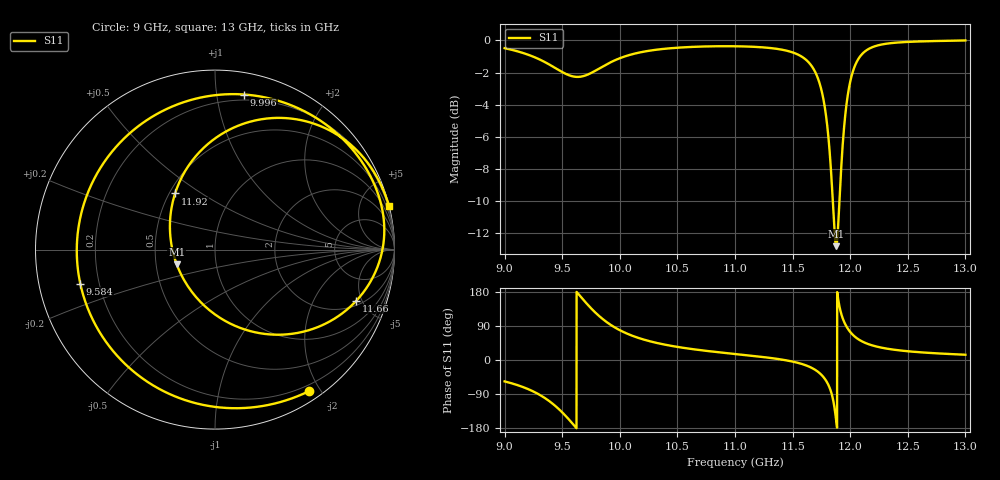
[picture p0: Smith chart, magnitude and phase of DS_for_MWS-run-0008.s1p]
! TOUCHSTONE file generated by CST DESIGN STUDIO
! Date and time: Tue Feb  4 15:38:53 2025
! Project name: C:\Work\MatlabApps\UnitCellOptimizationMatlab\CST\unitcell.cst
! Tree item: Tasks\Sweep1\SPara1\S-Parameters
! Header version: 2024
! Port assignment regex: !\s*Touchstone port\s*([0-9]+)\s*=\s*(CST MWS port|CST DES external port|CST DES block port)\s*(.+)\s* \(\"(.*)\"\)(\s*mode\s*([0-9]+))?.*
! Touchstone port assignment:
! Touchstone port 1 = CST DES external port 1 ("")
# GHz S MA R 50
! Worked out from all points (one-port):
!   4001 points, 9 GHz to 13 GHz, reference 50 ohm
!   lowest |S11| = -12.8 dB at 11.88 GHz (marker M1), VSWR 1.59, Z = 32.1 - j5.56 ohm
!   |S11| at or under -10 dB: 11.84893 GHz to 11.90668 GHz (57.75 MHz wide, 0.486 % of centre)
!   S11 on the Smith chart (normalised r, x): 9 GHz: 0.12, -1.86; 9.584 GHz: 0.13, -0.12; 9.996 GHz: 0.16, +1.19; 11.66 GHz: 2.37, -4.52; 11.92 GHz: 0.54, +0.39; 13 GHz: -0.01, +8.20
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9  0.9465 -56.5
9.163  0.9135 -71.8
9.314  0.8692 -93.6
9.412  0.832 -114.2
9.5  0.7975 -138.2
9.584  0.7742 -165.8
9.68  0.7738 160.1
9.793  0.807 123.7
9.885  0.8426 100.3
9.996  0.8794 79.3
10  0.8805 78.7
10.215  0.924 53.3
10.5  0.9495 34.6
11  0.9595 15.9
11.5  0.9181 -4.2
11.66  0.8376 -19.8
11.737  0.7301 -35.3
11.801  0.5413 -60.0
11.84  0.36 -90.3
11.878  0.2285 -158.9
11.919  0.3837 125.4
11.958  0.5896 93.8
12  0.7435 74.1
12.076  0.8817 53.7
12.169  0.9448 40.7
12.3  0.9755 30.9
12.5  0.9899 23.1
13  1 13.9
